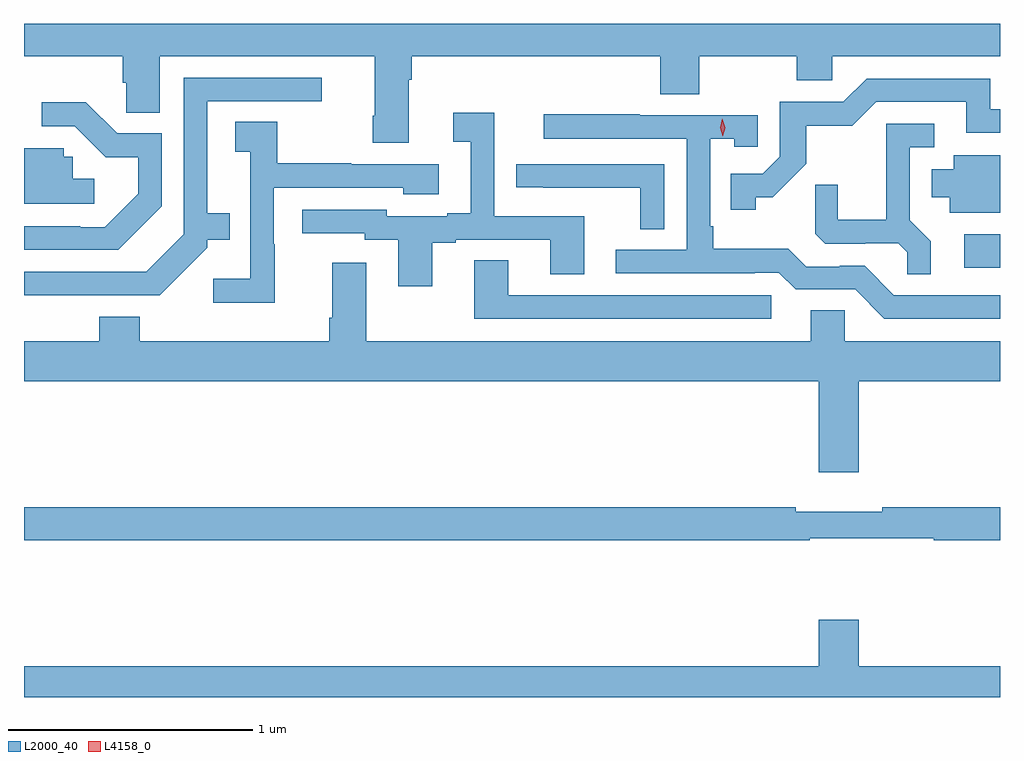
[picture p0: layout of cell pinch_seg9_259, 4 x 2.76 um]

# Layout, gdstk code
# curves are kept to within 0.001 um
import gdstk
lib = gdstk.Library(unit=1e-6, precision=1e-09)
def R(c, l, rs):  # rectangles x0, y0, x1, y1
    for r in rs: c.add(gdstk.rectangle(r[:2], r[2:], *l))
def P(c, l, *ps):  # polygons
    for p in ps: c.add(gdstk.Polygon(p, *l))
L2000_40 = (2000, 40)
L4158_0 = (4158, 0)

pinch_seg9_259 = lib.new_cell('pinch_seg9_259')
R(pinch_seg9_259, L2000_40, [(513.255,1247.501,513.402,1247.637)])
P(pinch_seg9_259, L2000_40, [(510.979,1248.272),(510.992,1248.272),(510.992,1248.368),(512.009,1248.368),(512.009,1248.211),(512.169,1248.211),(512.169,1248.368),(512.569,1248.368),(512.569,1248.27),(512.715,1248.27),(512.715,1248.368),(513.402,1248.368),(513.402,1248.5),(509.402,1248.5),(509.402,1248.368),(509.807,1248.368),(509.807,1248.258),(509.821,1248.258),(509.821,1248.136),(509.959,1248.136),(509.959,1248.368),(510.839,1248.368),(510.839,1248.124),(510.832,1248.124),(510.832,1248.012),(510.979,1248.012)],
  [(509.627,1247.388),(509.958,1247.388),(510.153,1247.583),(510.153,1247.615),(510.245,1247.615),(510.245,1247.725),(510.154,1247.725),(510.154,1248.183),(510.622,1248.183),(510.622,1248.279),(510.057,1248.279),(510.057,1247.637),(509.904,1247.484),(509.402,1247.484),(509.402,1247.387)],
  [(512.4,1247.789),(512.47,1247.789),(512.608,1247.926),(512.608,1248.082),(512.797,1248.082),(512.895,1248.18),(513.263,1248.18),(513.263,1248.054),(513.402,1248.054),(513.402,1248.15),(513.362,1248.15),(513.362,1248.276),(512.856,1248.276),(512.76,1248.18),(512.499,1248.18),(512.499,1247.955),(512.43,1247.886),(512.299,1247.886),(512.299,1247.739),(512.4,1247.739)],
  [(509.967,1247.753),(509.967,1248.051),(509.784,1248.051),(509.656,1248.179),(509.475,1248.179),(509.475,1248.081),(509.61,1248.081),(509.737,1247.954),(509.87,1247.954),(509.87,1247.804),(509.733,1247.667),(509.633,1247.667),(509.633,1247.67),(509.403,1247.67),(509.403,1247.574),(509.788,1247.574)],
  [(511.075,1247.604),(511.171,1247.604),(511.171,1247.616),(511.559,1247.616),(511.559,1247.473),(511.699,1247.473),(511.699,1247.712),(511.329,1247.712),(511.329,1248.136),(511.161,1248.136),(511.161,1248.016),(511.232,1248.016),(511.232,1247.725),(511.136,1247.725),(511.136,1247.712),(510.888,1247.712),(510.888,1247.739),(510.543,1247.739),(510.543,1247.643),(510.798,1247.643),(510.798,1247.616),(510.935,1247.616),(510.935,1247.424),(511.075,1247.424)],
  [(513.402,1247.388),(512.967,1247.388),(512.847,1247.508),(512.746,1247.508),(512.746,1247.505),(512.607,1247.505),(512.534,1247.578),(512.227,1247.578),(512.227,1247.671),(512.214,1247.671),(512.214,1248.029),(512.313,1248.029),(512.313,1247.997),(512.409,1247.997),(512.409,1248.126),(511.925,1248.126),(511.925,1248.129),(511.533,1248.129),(511.533,1248.03),(512.118,1248.03),(512.118,1247.574),(511.827,1247.574),(511.827,1247.478),(512.396,1247.478),(512.396,1247.481),(512.496,1247.481),(512.565,1247.412),(512.808,1247.412),(512.928,1247.292),(513.402,1247.292)],
  [(510.429,1247.597),(510.426,1247.597),(510.426,1247.829),(510.957,1247.829),(510.957,1247.801),(511.102,1247.801),(511.102,1247.925),(510.743,1247.925),(510.743,1247.928),(510.439,1247.928),(510.439,1248.098),(510.267,1248.098),(510.267,1247.977),(510.33,1247.977),(510.33,1247.455),(510.177,1247.455),(510.177,1247.357),(510.429,1247.357)],
  [(513.119,1247.609),(513.033,1247.695),(513.033,1247.994),(513.133,1247.994),(513.133,1248.09),(512.936,1248.09),(512.936,1247.698),(512.738,1247.698),(512.738,1247.841),(512.644,1247.841),(512.644,1247.639),(512.685,1247.598),(512.85,1247.598),(512.85,1247.601),(512.984,1247.601),(513.021,1247.564),(513.021,1247.473),(513.119,1247.473)],
  [(509.689,1247.866),(509.601,1247.866),(509.601,1247.955),(509.565,1247.955),(509.565,1247.991),(509.402,1247.991),(509.402,1247.763),(509.689,1247.763)],
  [(513.402,1247.962),(513.212,1247.962),(513.212,1247.905),(513.122,1247.905),(513.122,1247.789),(513.197,1247.789),(513.197,1247.726),(513.402,1247.726)],
  [(512.025,1247.925),(511.419,1247.925),(511.419,1247.83),(511.531,1247.83),(511.531,1247.829),(511.927,1247.829),(511.927,1247.659),(512.025,1247.659)],
  [(512.464,1247.388),(511.387,1247.388),(511.387,1247.531),(511.247,1247.531),(511.247,1247.292),(512.464,1247.292)],
  [(512.824,1247.036),(513.402,1247.036),(513.402,1247.2),(512.766,1247.2),(512.766,1247.327),(512.627,1247.327),(512.627,1247.2),(510.805,1247.2),(510.805,1247.521),(510.665,1247.521),(510.665,1247.296),(510.653,1247.296),(510.653,1247.2),(509.876,1247.2),(509.876,1247.299),(509.711,1247.299),(509.711,1247.2),(509.402,1247.2),(509.402,1247.036),(512.66,1247.036),(512.66,1246.662),(512.824,1246.662)],
  [(512.623,1246.392),(513.13,1246.392),(513.13,1246.384),(513.402,1246.384),(513.402,1246.52),(512.92,1246.52),(512.92,1246.501),(512.564,1246.501),(512.564,1246.52),(509.402,1246.52),(509.402,1246.384),(512.623,1246.384)],
  [(509.402,1245.741),(513.402,1245.741),(513.402,1245.868),(512.824,1245.868),(512.824,1246.057),(512.66,1246.057),(512.66,1245.868),(509.402,1245.868)])
P(pinch_seg9_259, L4158_0, [(512.266,1248.039),(512.266,1248.039),(512.255,1248.074),(512.263,1248.111),(512.264,1248.111),(512.264,1248.111),(512.275,1248.075),(512.266,1248.039)])

lib.write_gds('pinch_seg9_259.gds')
